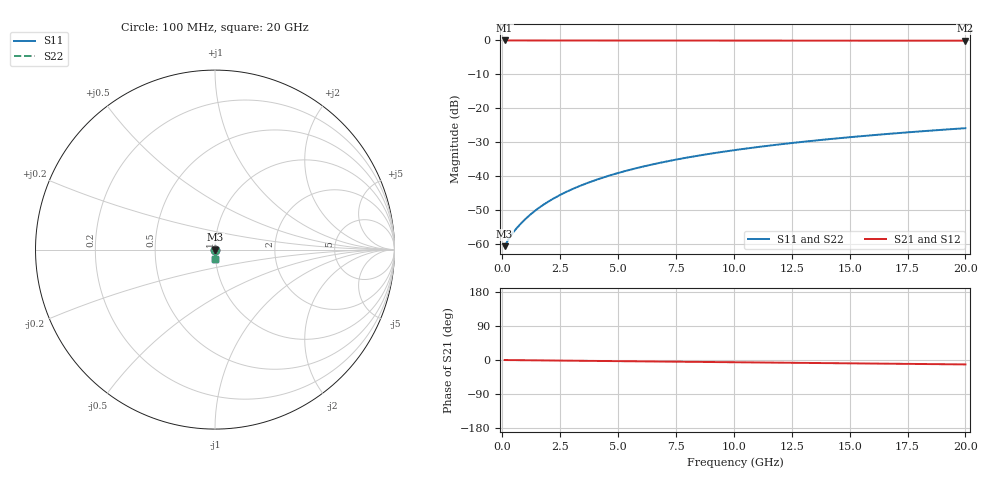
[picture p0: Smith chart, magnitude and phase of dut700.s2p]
! Touchstone file exported from HFSS 2026.1.0
!  File:  C:/ffzhzh/LocalFiles/Ansys_Project_Files/temp_train_BSMRDL_700_1783167986_43440.aedt
!  Generated:  08:27:32 PM Jul  4, 2026
!  Design:  BSMRDL
!  Project:  temp_train_BSMRDL_700_1783167986_43440
! Variables:
!  h_bsmrdl = 5.03um
!  h_ox = 20um
!  h_rdl = 5um
!  h_sub = 80um
!  h_tmrdl = 5um
!  h_tsv = 80um
!  h_via = 3um
!  l_bsmrdl = 198.01um
!  l_sub = 598.01um
!  l_tmrdl = 200um
!  m_sub = 200um
!  pitch = 20.99um
!  r_tsv = 6um
!  s_tmrdl = 10um
!  w_bsmrdl = 18.5um
!  w_sub = 500um
!  w_tmrdl = 12um
!  x_tsv_center1 = 206um
!  x_tsv_center2 = 422.51um
!  x_tsv_center3 = 634.51um
!  x_tsv_center4 = 851.02um
!  x_tsv_center5 = 1063.02um
!  x_tsv_center6 = 1279.53um
# GHz S MA R 50.000000
! Terminal data exported
! Port[1] = BSM_RDL1_1_T1
! Port[2] = BSM_RDL1_1_T2
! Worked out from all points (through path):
!   200 points, 100 MHz to 20 GHz, reference 50 ohm
!   highest |S21| = -0.01 dB at 100 MHz (marker M1); lowest = -0.1 dB at 20 GHz (marker M2)
!   group delay of S21, straight-line fit = 1.61 ps
!   lowest |S11| = -60.6 dB at 100 MHz (marker M3), VSWR 1.00, Z = 50.1 + j0.00145 ohm
!   |S11| at or under -10 dB: start of sweep to end of sweep
!   |S22| runs from -60.6 to -25.8 dB; largest |S21 - S12| = 6.1e-15
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0.1  0.0009383 0.9  0.9991 -0.1  0.9991 -0.1  0.0009383 0.9
! Gamma 0 0 0 0
! Port Impedance 50 0 50 0
0.3  0.001234 -9.5  0.9988 -0.2  0.9988 -0.2  0.001234 -9.5
0.4  0.001388 -16.7  0.9987 -0.3  0.9987 -0.3  0.001388 -16.7
0.6  0.001694 -29.4  0.9985 -0.4  0.9985 -0.4  0.001694 -29.4
0.8  0.002015 -39.0  0.9984 -0.5  0.9984 -0.5  0.002015 -39.0
1  0.002356 -46.1  0.9983 -0.6  0.9983 -0.6  0.002356 -46.1
1.4  0.003087 -55.5  0.9982 -0.9  0.9982 -0.9  0.003087 -55.5
1.8  0.003868 -61.2  0.9981 -1.1  0.9981 -1.1  0.003868 -61.2
2.3  0.0049 -65.6  0.9979 -1.4  0.9979 -1.4  0.0049 -65.6
2.9  0.006204 -69.0  0.9976 -1.8  0.9976 -1.8  0.006204 -69.0
3.5  0.007571 -71.3  0.9973 -2.1  0.9973 -2.1  0.00757 -71.3
4.2  0.00923 -73.4  0.9969 -2.6  0.9969 -2.6  0.00923 -73.4
5  0.01119 -75.2  0.9965 -3.0  0.9965 -3.0  0.01119 -75.2
5.9  0.01347 -77.0  0.9961 -3.6  0.9961 -3.6  0.01347 -77.0
6.8  0.01579 -78.6  0.9957 -4.1  0.9957 -4.1  0.01579 -78.6
8.3  0.01972 -80.9  0.995 -5.0  0.995 -5.0  0.01972 -80.9
10.1  0.02451 -83.2  0.9943 -6.0  0.9943 -6.0  0.0245 -83.2
11.7  0.02879 -85.1  0.9937 -6.9  0.9937 -6.9  0.02878 -85.1
13.4  0.03335 -86.9  0.9931 -7.9  0.9931 -7.9  0.03335 -86.9
15  0.03766 -88.4  0.9925 -8.8  0.9925 -8.8  0.03765 -88.4
16.7  0.04224 -89.9  0.9919 -9.8  0.9919 -9.8  0.04223 -90.0
20  0.05113 -92.7  0.9907 -11.7  0.9907 -11.7  0.05112 -92.7
